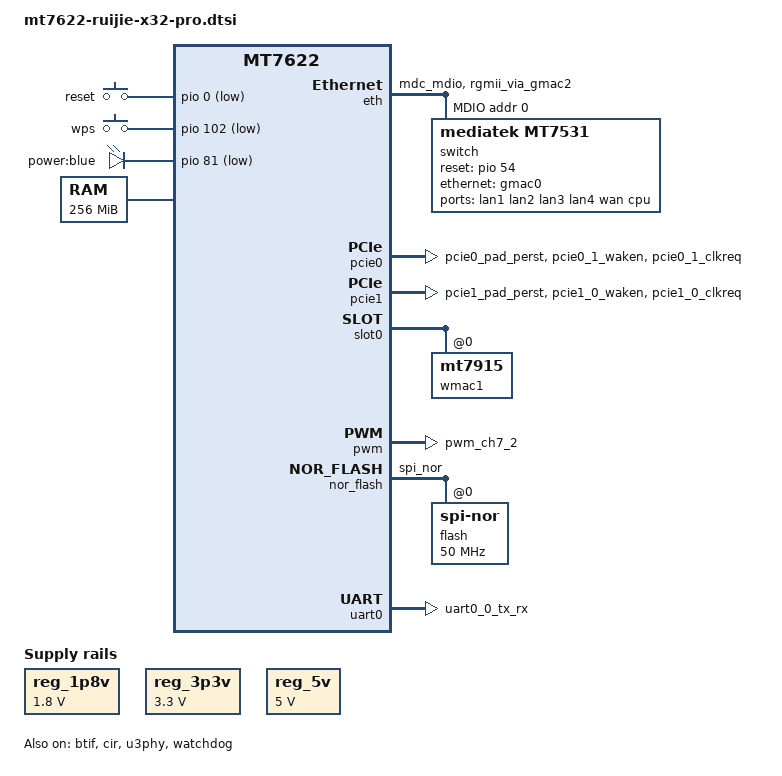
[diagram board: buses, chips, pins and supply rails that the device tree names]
// SPDX-License-Identifier: (GPL-2.0-only OR MIT)

/dts-v1/;
#include <dt-bindings/input/input.h>
#include <dt-bindings/gpio/gpio.h>

#include "mt7622.dtsi"
#include "mt6380.dtsi"

/ {

	aliases {
		serial0 = &uart0;
		led-boot = &led_power;
		led-failsafe = &led_power;
		led-running = &led_power;
		led-upgrade = &led_power;
	};

	chosen {
		stdout-path = "serial0:115200n8";
		bootargs = "console=ttyS0,115200n1 loglevel=8 swiotlb=512 \t\t\t\trootfstype=squashfs";
	};

	cpus {
		cpu@0 {
			proc-supply = <&mt6380_vcpu_reg>;
			sram-supply = <&mt6380_vm_reg>;
		};

		cpu@1 {
			proc-supply = <&mt6380_vcpu_reg>;
			sram-supply = <&mt6380_vm_reg>;
		};
	};

	gpio-keys {
		compatible = "gpio-keys";

		factory {
			label = "reset";
			linux,code = <KEY_RESTART>;
			gpios = <&pio 0 GPIO_ACTIVE_LOW>;
		};

		wps {
			label = "wps";
			linux,code = <KEY_WPS_BUTTON>;
			gpios = <&pio 102 GPIO_ACTIVE_LOW>;
		};
	};

	gpio-leds {
		compatible = "gpio-leds";

		led_power: power_blue {
			label = "power:blue";
			gpios = <&pio 81 GPIO_ACTIVE_LOW>;
			default-state = "on";
		};

	};

	memory {
		reg = <0x00 0x40000000 0x00 0x10000000>;
	};

	reg_1p8v: regulator-1p8v {
		compatible = "regulator-fixed";
		regulator-name = "fixed-1.8V";
		regulator-min-microvolt = <1800000>;
		regulator-max-microvolt = <1800000>;
		regulator-always-on;
	};

	reg_3p3v: regulator-3p3v {
		compatible = "regulator-fixed";
		regulator-name = "fixed-3.3V";
		regulator-min-microvolt = <3300000>;
		regulator-max-microvolt = <3300000>;
		regulator-boot-on;
		regulator-always-on;
	};

	reg_5v: regulator-5v {
		compatible = "regulator-fixed";
		regulator-name = "fixed-5V";
		regulator-min-microvolt = <5000000>;
		regulator-max-microvolt = <5000000>;
		regulator-boot-on;
		regulator-always-on;
	};


};

&btif {
	status = "okay";
};

&cir {
	pinctrl-names = "default";
	pinctrl-0 = <&irrx_pins>;
	status = "okay";
};

&eth {
	pinctrl-names = "default";
	pinctrl-0 = <&eth_pins>;
	status = "okay";

	gmac0: mac@0 {
		compatible = "mediatek,eth-mac";
		reg = <0>;
		phy-mode = "2500base-x";

		fixed-link {
			speed = <2500>;
			full-duplex;
			pause;
		};
	};

	mdio-bus {
		#address-cells = <1>;
		#size-cells = <0>;

		switch@0 {
			compatible = "mediatek,mt7531";
			reg = <0>;
			reset-gpios = <&pio 54 0>;

			ports {
				#address-cells = <1>;
				#size-cells = <0>;

				port@0 {
					reg = <0>;
					label = "lan1";
				};

				port@1 {
					reg = <1>;
					label = "lan2";
				};

				port@2 {
					reg = <2>;
					label = "lan3";
				};

				port@3 {
					reg = <3>;
					label = "lan4";
				};

				wan: port@4 {
					reg = <4>;
					label = "wan";
				};

				port@6 {
					reg = <6>;
					label = "cpu";
					ethernet = <&gmac0>;
					phy-mode = "2500base-x";

					fixed-link {
						speed = <2500>;
						full-duplex;
						pause;
					};
				};
			};
		};

	};

};

&pcie0 {
	pinctrl-names = "default";
	pinctrl-0 = <&pcie0_pins>;
	status = "okay";
};

&pcie1 {
	pinctrl-names = "default";
	pinctrl-0 = <&pcie1_pins>;
	status = "okay";
};


&slot0 {
	wmac1: mt7915@0,0 {
		reg = <0x0000 0 0 0 0>;
		ieee80211-freq-limit = <5000000 6000000>;
	};
};

&u3phy {
	status = "okay";
};


&pio {
	eth_pins: eth-pins {
		mux {
			function = "eth";
			groups = "mdc_mdio", "rgmii_via_gmac2";
		};
	};

	irrx_pins: irrx-pins {
		mux {
			function = "ir";
			groups =  "ir_1_rx";
		};
	};

	irtx_pins: irtx-pins {
		mux {
			function = "ir";
			groups =  "ir_1_tx";
		};
	};

	pcie0_pins: pcie0-pins {
		mux {
			function = "pcie";
			groups = "pcie0_pad_perst",
				 "pcie0_1_waken",
				 "pcie0_1_clkreq";
		};
	};

	pcie1_pins: pcie1-pins {
		mux {
			function = "pcie";
			groups = "pcie1_pad_perst",
				 "pcie1_0_waken",
				 "pcie1_0_clkreq";
		};
	};

	pmic_bus_pins: pmic-bus-pins {
		mux {
			function = "pmic";
			groups = "pmic_bus";
		};
	};

	pwm7_pins: pwm1-2-pins {
		mux {
			function = "pwm";
			groups = "pwm_ch7_2";
		};
	};

	spi_nor_pins: spi-nor-pins {
		mux {
			function = "flash";
			groups = "spi_nor";
		};
	};

	uart0_pins: uart0-pins {
		mux {
			function = "uart";
			groups = "uart0_0_tx_rx" ;
		};
	};

	watchdog_pins: watchdog-pins {
		mux {
			function = "watchdog";
			groups = "watchdog";
		};
	};
};

&pwm {
	pinctrl-names = "default";
	pinctrl-0 = <&pwm7_pins>;
	status = "okay";
};


&pwrap {
	pinctrl-names = "default";
	pinctrl-0 = <&pmic_bus_pins>;

	status = "okay";
};


&nor_flash {
	pinctrl-names = "default";
	pinctrl-0 = <&spi_nor_pins>;
	#size-cells = <0x01>;

	status = "okay";

	flash@0 {
		compatible = "jedec,spi-nor";
		reg = <0>;
		spi-max-frequency = <50000000>;

		nor_partitions: partitions {
			compatible = "fixed-partitions";
			#address-cells = <1>;
			#size-cells = <1>;

		};
	};
};

&spi0 {
	status = "disabled";
};

&spi1 {
	status = "disabled";
};

&uart0 {
	pinctrl-names = "default";
	pinctrl-0 = <&uart0_pins>;
	status = "okay";
};

&uart2 {
	status = "disabled";
};

&rtc {
	status = "disabled";
};

&watchdog {
	pinctrl-names = "default";
	pinctrl-0 = <&watchdog_pins>;
	status = "okay";
};
